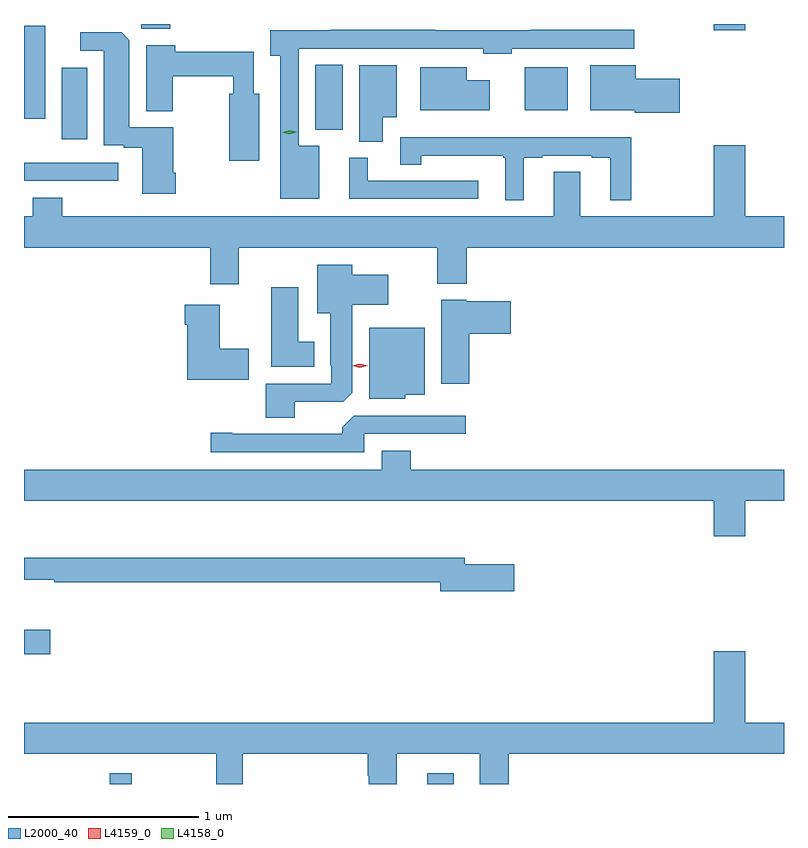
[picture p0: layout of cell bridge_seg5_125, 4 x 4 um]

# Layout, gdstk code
import gdstk
lib = gdstk.Library(unit=1e-6, precision=1e-09)
def R(c, l, rs):  # rectangles x0, y0, x1, y1
    for r in rs: c.add(gdstk.rectangle(r[:2], r[2:], *l))
def P(c, l, *ps):  # polygons
    for p in ps: c.add(gdstk.Polygon(p, *l))
L2000_40 = (2000, 40)
L4158_0 = (4158, 0)
L4159_0 = (4159, 0)

bridge_seg5_125 = lib.new_cell('bridge_seg5_125')
R(bridge_seg5_125, L2000_40, [(425.563,879.245,425.68,879.301), (427.235,879.245,427.375,879.301), (425.113,879.928,425.251,880.057), (425.113,882.42,425.608,882.516), (425.312,882.639,425.446,883.015), (426.647,882.689,426.79,883.031), (425.113,882.747,425.224,883.237), (427.748,882.791,427.975,883.018), (428.744,883.212,428.908,883.245), (425.731,883.219,425.882,883.245)])
P(bridge_seg5_125, L2000_40, [(426.667,882.604),(426.558,882.604),(426.558,883.116),(427.53,883.116),(427.53,883.088),(427.68,883.088),(427.68,883.116),(428.326,883.116),(428.326,883.214),(427.78,883.214),(427.78,883.212),(427.277,883.212),(427.277,883.214),(426.727,883.214),(426.727,883.212),(426.408,883.212),(426.408,883.079),(426.462,883.079),(426.462,882.326),(426.667,882.326)],
  [(425.912,882.463),(425.899,882.463),(425.899,882.702),(425.668,882.702),(425.668,883.16),(425.627,883.202),(425.409,883.202),(425.409,883.104),(425.534,883.104),(425.534,882.606),(425.639,882.606),(425.639,882.594),(425.735,882.594),(425.735,882.351),(425.912,882.351)],
  [(426.352,882.877),(426.321,882.877),(426.321,883.099),(425.909,883.099),(425.909,883.134),(425.756,883.134),(425.756,882.787),(425.896,882.787),(425.896,882.97),(426.213,882.97),(426.213,882.877),(426.194,882.877),(426.194,882.525),(426.352,882.525)],
  [(428.563,882.957),(428.332,882.957),(428.332,883.027),(428.093,883.027),(428.093,882.791),(428.328,882.791),(428.328,882.779),(428.563,882.779)],
  [(427,882.755),(427.075,882.755),(427.075,883.027),(426.878,883.027),(426.878,882.625),(427,882.625)],
  [(427.564,882.949),(427.444,882.949),(427.444,883.018),(427.199,883.018),(427.199,882.791),(427.564,882.791)],
  [(427.744,882.54),(427.84,882.54),(427.84,882.552),(428.102,882.552),(428.102,882.54),(428.198,882.54),(428.198,882.317),(428.308,882.317),(428.308,882.649),(427.092,882.649),(427.092,882.505),(427.205,882.505),(427.205,882.551),(427.635,882.551),(427.635,882.54),(427.646,882.54),(427.646,882.317),(427.744,882.317)],
  [(426.244,882.068),(427.289,882.068),(427.289,881.879),(427.442,881.879),(427.442,882.068),(429.113,882.068),(429.113,882.232),(428.908,882.232),(428.908,882.607),(428.744,882.607),(428.744,882.232),(428.041,882.232),(428.041,882.467),(427.901,882.467),(427.901,882.232),(425.313,882.232),(425.313,882.331),(425.158,882.331),(425.158,882.232),(425.113,882.232),(425.113,882.068),(426.092,882.068),(426.092,881.874),(426.244,881.874)],
  [(427.504,882.42),(426.922,882.42),(426.922,882.54),(426.824,882.54),(426.824,882.324),(427.504,882.324)],
  [(426.538,881.256),(426.792,881.256),(426.841,881.305),(426.841,881.768),(427.03,881.768),(427.03,881.926),(426.841,881.926),(426.841,881.977),(426.656,881.977),(426.656,881.723),(426.725,881.723),(426.725,881.449),(426.729,881.449),(426.729,881.352),(426.386,881.352),(426.386,881.173),(426.538,881.173)],
  [(426.64,881.572),(426.556,881.572),(426.556,881.86),(426.413,881.86),(426.413,881.441),(426.64,881.441)],
  [(427.457,881.615),(427.675,881.615),(427.675,881.785),(427.44,881.785),(427.44,881.794),(427.31,881.794),(427.31,881.352),(427.457,881.352)],
  [(426.295,881.535),(426.142,881.535),(426.142,881.767),(425.96,881.767),(425.96,881.663),(425.972,881.663),(425.972,881.372),(426.295,881.372)],
  [(427.119,881.294),(427.222,881.294),(427.222,881.647),(426.929,881.647),(426.929,881.273),(427.119,881.273)],
  [(426.903,881.088),(427.438,881.088),(427.438,881.184),(426.849,881.184),(426.788,881.122),(426.788,881.088),(426.208,881.088),(426.208,881.093),(426.096,881.093),(426.096,880.992),(426.903,880.992)],
  [(428.908,880.736),(429.113,880.736),(429.113,880.9),(427.148,880.9),(427.148,880.999),(426.995,880.999),(426.995,880.9),(425.113,880.9),(425.113,880.736),(428.744,880.736),(428.744,880.548),(428.908,880.548)],
  [(427.693,880.401),(427.432,880.401),(427.432,880.435),(425.113,880.435),(425.113,880.321),(425.272,880.321),(425.272,880.306),(427.304,880.306),(427.304,880.259),(427.693,880.259)],
  [(426.265,879.404),(426.923,879.404),(426.923,879.288),(426.928,879.288),(426.928,879.245),(427.075,879.245),(427.075,879.404),(427.511,879.404),(427.511,879.245),(427.664,879.245),(427.664,879.404),(429.113,879.404),(429.113,879.568),(428.908,879.568),(428.908,879.943),(428.744,879.943),(428.744,879.568),(425.113,879.568),(425.113,879.404),(426.126,879.404),(426.126,879.245),(426.265,879.245)])
P(bridge_seg5_125, L4158_0, [(426.509,882.665),(426.473,882.674),(426.473,882.674),(426.473,882.674),(426.509,882.685),(426.545,882.677),(426.545,882.676),(426.545,882.676)])
P(bridge_seg5_125, L4159_0, [(426.881,881.437),(426.84,881.446),(426.84,881.447),(426.84,881.447),(426.881,881.457),(426.922,881.447),(426.922,881.447),(426.922,881.446)])

lib.write_gds('bridge_seg5_125.gds')
